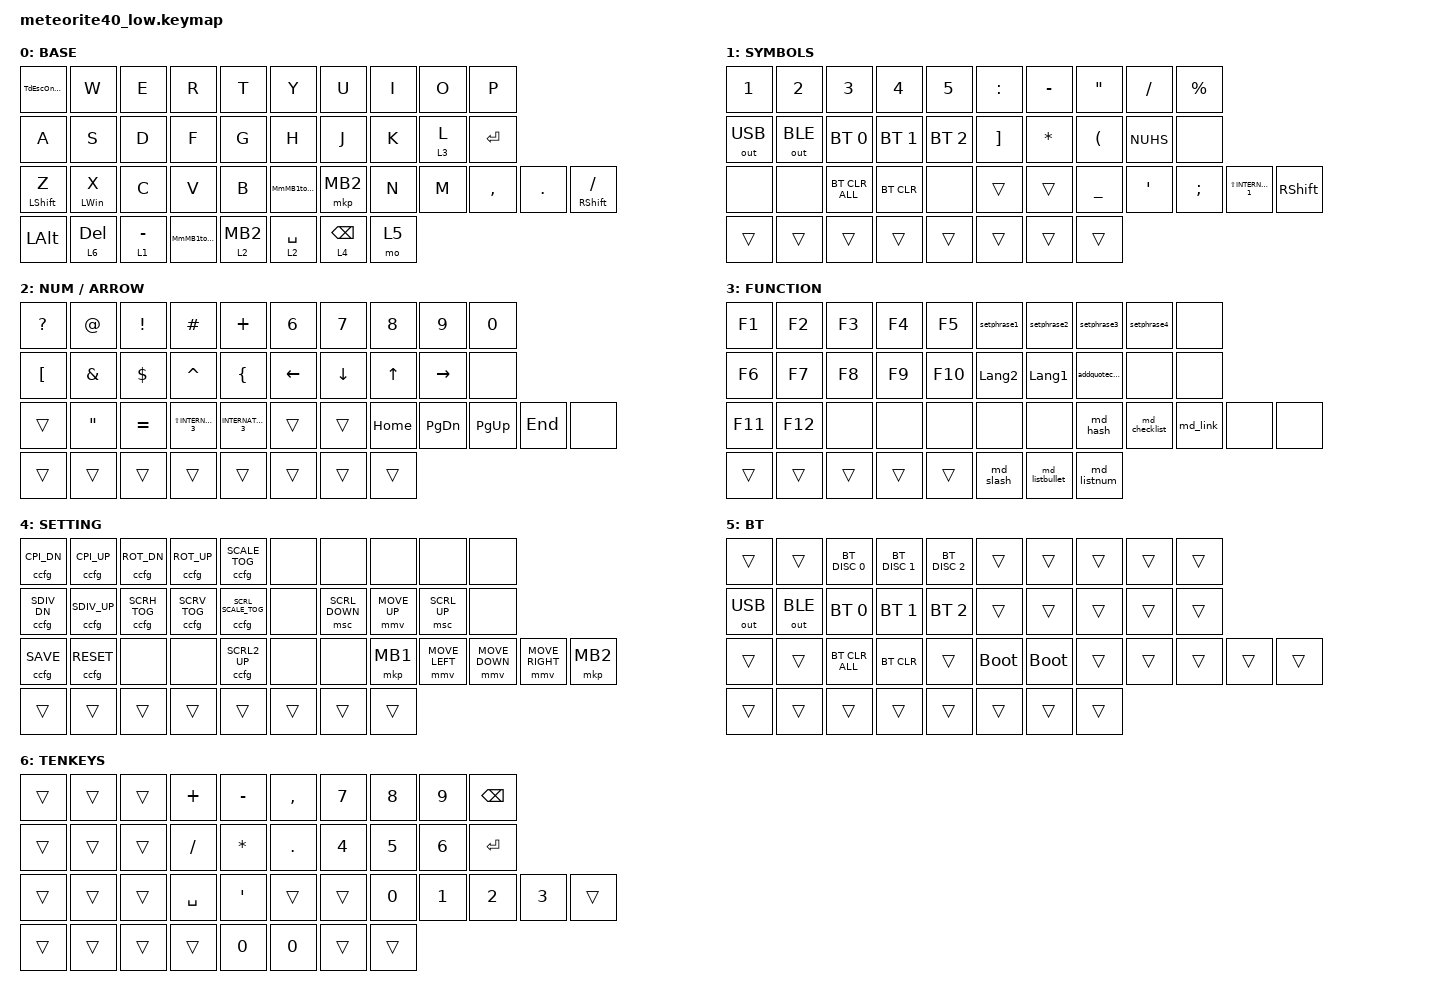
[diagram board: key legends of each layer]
#include <behaviors/custom_config.dtsi>
#include <behaviors/meteorite_custom_key.dtsi>
#include <behaviors/meteorite_bt_os.dtsi>
#include <behaviors/meteorite_mod_key.dtsi>
#include <behaviors/meteorite_os_key.dtsi>
#include <dt-bindings/zmk/custom_config.h>
#include <dt-bindings/zmk/meteorite_custom_keys.h>
#include <dt-bindings/zmk/meteorite_bt_os.h>
#include <behaviors.dtsi>
#include <dt-bindings/zmk/bt.h>
#include <dt-bindings/zmk/keys.h>
#include <dt-bindings/zmk/outputs.h>
#include <dt-bindings/zmk/pointing.h>

&mt {
    flavor = "balanced"; // change hold to tap
    tapping-term-ms = <200>;
    quick-tap-ms = <150>; // change 200 to 150
    require-prior-idle-ms = <130>;
};

&lt {
    flavor = "balanced";
    tapping-term-ms = <180>; // change 200 to 150
    quick-tap-ms = <150>; // change 200 to 150
    require-prior-idle-ms = <150>;
};

&mmv { trigger-period-ms = <8>; };

/ {
    combos {
        compatible = "zmk,combos";

        bs {
            bindings = <&kp BACKSPACE>;
            key-positions = <16 17>; /* D + F */
        };

        tab {
            bindings = <&kp TAB>;
            key-positions = <2 1>; /* J + K */
        };

        underscore {
            bindings = <&kp LS(INTERNATIONAL_1)>;
            key-positions = <6 7>; /* Z + X */
        };

        hyphen {
            bindings = <&kp MINUS>;
            key-positions = <7 8>; /* Q + W */
        };

        redo {
            bindings = <&kp LC(Y)>;
            key-positions = <23 24>; /* J + K (on layer 2) */
        };

        copy {
            bindings = <&kp LC(C)>;
            key-positions = <12 13>; /* L + - (on layer 2) */
        };

        cut {
            bindings = <&kp LC(X)>;
            key-positions = <11 12>; /* J + L (on layer 2) */
        };

        paste {
            bindings = <&kp LC(V)>;
            key-positions = <22 23>; /* K + - (on layer 2) */
        };

        undo {
            bindings = <&kp LC(Z)>;
            key-positions = <13 14>;
        };

        delete {
            bindings = <&kp DEL>;
            key-positions = <8 9>;
        };

        Move2PE {
            bindings = <&kp LC(END)>;
            key-positions = <28 29 30>;
        };

        Move2PT {
            bindings = <&kp LC(HOME)>;
            key-positions = <16 18 17>;
        };

        CloseTab {
            bindings = <&kp LC(W)>;
            key-positions = <28 29 30 31>;
        };

        RedoTab {
            bindings = <&kp LC(LS(T))>;
            key-positions = <16 17 18 19>;
        };

        all {
            bindings = <&kp LC(A)>;
            key-positions = <3 4>;
        };

        esc {
            bindings = <&kp ESCAPE>;
            key-positions = <0 1>;
        };

        DT2right {
            bindings = <&kp LC(LG(RIGHT))>;
            key-positions = <7 8 9>;
        };

        DT2left {
            bindings = <&kp LC(LG(LEFT))>;
            key-positions = <6 7 8>;
        };
    };

    macros {
        setphrase1: setphrase1 {
            compatible = "zmk,behavior-macro";
            #binding-cells = <0>;
            bindings = <&kp LANGUAGE_2 &kp LS(S) &kp H &kp O &kp W &kp A &kp N3 &kp N7 &kp N1 &kp N2 &kp N0 &kp N5>;
            label = "SETPHRASE1";
        };

        setphrase2: setphrase2 {
            compatible = "zmk,behavior-macro";
            #binding-cells = <0>;
            bindings = <&kp LANGUAGE_2 &kp H &kp O &kp S &kp H &kp I &kp N &kp O &kp MINUS &kp T &kp A &kp K &kp E &kp S &kp H &kp I &kp LBKT &kp M &kp K &kp I &kp DOT &kp C &kp O &kp DOT &kp J &kp P>;
            label = "SETPHRASE2";
        };

        setphrase3: setphrase3 {
            compatible = "zmk,behavior-macro";
            #binding-cells = <0>;
            bindings = <&kp LANGUAGE_2 &kp H &kp O &kp S &kp H &kp I &kp N &kp O &kp LBKT &kp P &kp T &kp U &kp N &kp E &kp D &kp DOT &kp N &kp E &kp T>;
            label = "SETPHRASE3";
        };

        setphrase4: setphrase4 {
            compatible = "zmk,behavior-macro";
            #binding-cells = <0>;
            bindings = <&kp LANGUAGE_2 &kp LS(T) &kp LS(T) &kp LS(T) &kp LS(T) &kp T &kp N4 &kp N7 &kp N4 &kp N4 &kp N7 &kp N7 &kp N3 &kp N0 &kp N9>;
            label = "SETPHRASE4";
        };

        addquotechar: addquotechar {
            compatible = "zmk,behavior-macro";
            #binding-cells = <0>;
            bindings = <&kp HOME &kp LANGUAGE_2 &kp GREATER_THAN &kp HOME &kp DOWN>;
            label = "ADDQUOTECHAR";
        };

        AddParenthsis: AddParenthsis {
            compatible = "zmk,behavior-macro";
            #binding-cells = <0>;
            bindings = <&kp LANGUAGE_2 &kp ASTRK &kp LEFT_PARENTHESIS &kp LEFT_ARROW &kp LANGUAGE_1>;
            label = "ADDPARENTHSIS";
        };

        AddBracket: AddBracket {
            compatible = "zmk,behavior-macro";
            #binding-cells = <0>;
            bindings = <&kp LANGUAGE_1 &kp RIGHT_BRACKET &kp NUHS &kp LEFT &kp LANGUAGE_1>;
            label = "ADDBRACKET";
        };

        AddDoublequote: AddDoublequote {
            compatible = "zmk,behavior-macro";
            #binding-cells = <0>;
            bindings = <&kp LANGUAGE_2 &kp AT &kp AT &kp LEFT &kp LANGUAGE_1>;
            label = "ADDDOUBLEQUOTE";
        };

        md_hash: md_hash {
            compatible = "zmk,behavior-macro";
            #binding-cells = <0>;
            bindings = <&kp LANG2 &kp LS(N3)>;
            label = "MD_HASH";
        };

        md_checklist: md_checklist {
            compatible = "zmk,behavior-macro";
            #binding-cells = <0>;
            bindings = <&kp LANG2 &kp MINUS &kp SPACE &kp RIGHT_BRACKET &kp SPACE &kp BACKSLASH &kp SPACE &kp LANG1>;
            label = "MD_CHECKLIST";
        };

        md_link: md_link {
            compatible = "zmk,behavior-macro";
            #binding-cells = <0>;
            bindings = <&kp LANG2 &kp RIGHT_BRACKET &kp BACKSLASH &kp LS(N8) &kp H &kp T &kp T &kp P &kp S &kp APOS &kp FSLH &kp FSLH &kp LS(N9) &kp LEFT &kp LEFT &kp LEFT &kp LEFT &kp LEFT_ARROW &kp LEFT &kp LEFT &kp LEFT &kp LEFT &kp LEFT_ARROW &kp LEFT>;
            label = "MD_LINK";
        };

        md_slash: md_slash {
            compatible = "zmk,behavior-macro";
            #binding-cells = <0>;
            bindings = <&kp LANG2 &kp SLASH>;
            label = "MD_SLASH";
        };

        md_listbullet: md_listbullet {
            compatible = "zmk,behavior-macro";
            #binding-cells = <0>;
            bindings = <&kp LANG2 &kp MINUS &kp SPACE &kp LANG1>;
            label = "MD_LISTBULLET";
        };

        md_listnum: md_listnum {
            compatible = "zmk,behavior-macro";
            #binding-cells = <0>;
            bindings = <&kp LANG2 &kp N1 &kp DOT &kp SPACE &kp LANG1>;
            label = "MD_LISTNUM";
        };
    };

    behaviors {
        TdTabOnWKey: TdTabOnWKey {
            compatible = "zmk,behavior-tap-dance";
            label = "TDTABONWKEY";
            #binding-cells = <0>;
            bindings = <&kp W>, <&kp TAB>;

            tapping-term-ms = <300>;
        };

        TdEscOnQkey: TdEscOnQkey {
            compatible = "zmk,behavior-tap-dance";
            label = "TDESCONQKEY";
            #binding-cells = <0>;
            bindings = <&mt LCTRL Q>, <&kp ESCAPE>;

            tapping-term-ms = <300>;
        };

        MmRightThumb: MmRightThumb {
            compatible = "zmk,behavior-mod-morph";
            label = "MMRIGHTTHUMB";
            bindings = <&lt 4 BACKSPACE>, <&kp DELETE>;

            #binding-cells = <0>;
            mods = <(MOD_LSFT)>;
        };

        MmMB1toMB2: MmMB1toMB2 {
            compatible = "zmk,behavior-mod-morph";
            label = "MMMB1TOMB2";
            bindings = <&mkp MB1>, <&mkp MB2>;

            #binding-cells = <0>;
            mods = <(MOD_LSFT)>;
        };

        TdThumbMB2: TdThumbMB2 {
            compatible = "zmk,behavior-tap-dance";
            label = "TDTHUMBMB2";
            #binding-cells = <0>;
            bindings = <&lt 2 SPACE>, <&mkp MB2>;

            tapping-term-ms = <150>;
        };

        lt_mkp: lt_mkp {
            compatible = "zmk,behavior-hold-tap";
            label = "LT_MKP";
            bindings = <&mo>, <&mkp>;

            #binding-cells = <2>;
            flavor = "tap-preferred";
            tapping-term-ms = <200>;
        };
    };

    keymap {
        compatible = "zmk,keymap";
        layout = &LOW_PROFILE_DEFAULT;

        default_layer {
            display-name = "BASE";
            bindings = <
&TdEscOnQkey      &kp W           &kp E        &kp R        &kp T          &kp Y        &kp U            &kp I  &kp O    &kp P
&kp A             &kp S           &kp D        &kp F        &kp G          &kp H        &kp J            &kp K  &lt 3 L  &kp RET
&mt LEFT_SHIFT Z  &mt LEFT_WIN X  &kp C        &kp V        &kp B          &MmMB1toMB2  &mkp MB2         &kp N  &kp M    &kp COMMA  &kp DOT  &mt RIGHT_SHIFT SLASH
&kp LEFT_ALT      &lt 6 DELETE    &lt 1 MINUS  &MmMB1toMB2  &lt_mkp 2 MB2  &lt 2 SPACE  &lt 4 BACKSPACE  &mo 5
            >;
        };

        SPECIALCHAR {
            display-name = "SYMBOLS";
            bindings = <
&kp N1        &kp N2        &kp N3          &kp N4        &kp N5        &kp COLON  &kp MINUS  &kp DOUBLE_QUOTES     &kp FSLH  &kp PERCENT
&out OUT_USB  &out OUT_BLE  &bt BT_SEL 0    &bt BT_SEL 1  &bt BT_SEL 2  &kp RBKT   &kp ASTRK  &kp LEFT_PARENTHESIS  &kp NUHS  &none
&none         &none         &bt BT_CLR_ALL  &bt BT_CLR    &none         &trans     &trans     &kp UNDER             &kp APOS  &kp SEMI     &kp LS(INTERNATIONAL_1)  &kp RIGHT_SHIFT
&trans        &trans        &trans          &trans        &trans        &trans     &trans     &trans
            >;
        };

        ARROW {
            display-name = "NUM / ARROW";
            bindings = <
&kp QUESTION  &kp AT             &kp EXCL    &kp HASH                 &kp PLUS             &kp N6    &kp N7    &kp N8        &kp N9         &kp N0
&kp LBKT      &kp AMPS           &kp DOLLAR  &kp CARET                &kp LEFT_BRACE       &kp LEFT  &kp DOWN  &kp UP_ARROW  &kp RIGHT      &none
&trans        &kp DOUBLE_QUOTES  &kp EQUAL   &kp LS(INTERNATIONAL_3)  &kp INTERNATIONAL_3  &trans    &trans    &kp HOME      &kp PAGE_DOWN  &kp PAGE_UP  &kp END  &none
&trans        &trans             &trans      &trans                   &trans               &trans    &trans    &trans
            >;
        };

        FUNC,MACRO {
            display-name = "FUNCTION";
            bindings = <
&kp F1   &kp F2   &kp F3  &kp F4  &kp F5   &setphrase1     &setphrase2     &setphrase3    &setphrase4    &none
&kp F6   &kp F7   &kp F8  &kp F9  &kp F10  &kp LANGUAGE_2  &kp LANGUAGE_1  &addquotechar  &none          &none
&kp F11  &kp F12  &none   &none   &none    &none           &none           &md_hash       &md_checklist  &md_link  &none  &none
&trans   &trans   &trans  &trans  &trans   &md_slash       &md_listbullet  &md_listnum
            >;
        };

        MOUSE {
            display-name = "SETTING";
            bindings = <
&ccfg C_CPI_DN   &ccfg C_CPI_UP   &ccfg C_ROT_DN    &ccfg C_ROT_UP    &ccfg C_SCALE_TOG       &none   &none           &none         &none           &none
&ccfg C_SDIV_DN  &ccfg C_SDIV_UP  &ccfg C_SCRH_TOG  &ccfg C_SCRV_TOG  &ccfg C_SCRL_SCALE_TOG  &none   &msc SCRL_DOWN  &mmv MOVE_UP  &msc SCRL_UP    &none
&ccfg C_SAVE     &ccfg C_RESET    &none             &none             &ccfg C_SCRL2_UP        &none   &none           &mkp MB1      &mmv MOVE_LEFT  &mmv MOVE_DOWN  &mmv MOVE_RIGHT  &mkp MB2
&trans           &trans           &trans            &trans            &trans                  &trans  &trans          &trans
            >;
        };

        BT {
            bindings = <
&trans        &trans        &bt BT_DISC 0   &bt BT_DISC 1  &bt BT_DISC 2  &trans       &trans       &trans  &trans  &trans
&out OUT_USB  &out OUT_BLE  &bt BT_SEL 0    &bt BT_SEL 1   &bt BT_SEL 2   &trans       &trans       &trans  &trans  &trans
&trans        &trans        &bt BT_CLR_ALL  &bt BT_CLR     &trans         &bootloader  &bootloader  &trans  &trans  &trans  &trans  &trans
&trans        &trans        &trans          &trans         &trans         &trans       &trans       &trans
            >;
        };

        TENKEYS {
            bindings = <
&trans  &trans  &trans  &kp PLUS   &kp MINUS  &kp COMMA  &kp N7  &kp N8  &kp N9  &kp BSPC
&trans  &trans  &trans  &kp FSLH   &kp ASTRK  &kp DOT    &kp N4  &kp N5  &kp N6  &kp ENTER
&trans  &trans  &trans  &kp SPACE  &kp APOS   &trans     &trans  &kp N0  &kp N1  &kp N2     &kp N3  &trans
&trans  &trans  &trans  &trans     &kp N0     &kp N0     &trans  &trans
            >;
        };
    };
};
